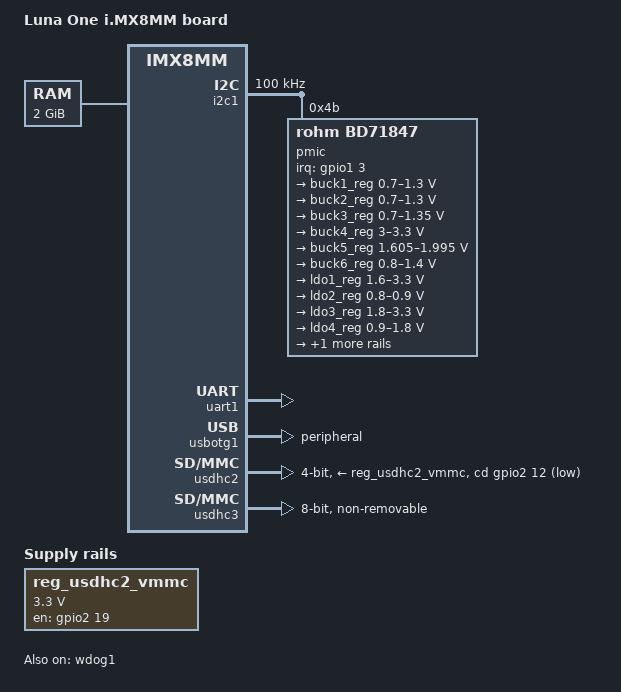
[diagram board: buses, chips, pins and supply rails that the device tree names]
// SPDX-License-Identifier: (GPL-2.0+ OR MIT)
/*
 * Copyright 2019-2020 NXP
 */

/dts-v1/;

#include "imx8mm.dtsi"

/ {
	model = "Luna One i.MX8MM board";
	compatible = "luna,imx8mm-luna-one", "fsl,imx8mm";

	chosen {
		stdout-path = &uart1;
	};

	memory@40000000 {
		device_type = "memory";
		reg = <0x0 0x40000000 0 0x80000000>;
	};

	aliases {
		mmc0 = &usdhc3;
		mmc1 = &usdhc2;
	};

	reg_usdhc2_vmmc: regulator-usdhc2 {
		compatible = "regulator-fixed";
		pinctrl-names = "default";
		pinctrl-0 = <&pinctrl_reg_usdhc2_vmmc>;
		regulator-name = "VSD_3V3";
		regulator-min-microvolt = <3300000>;
		regulator-max-microvolt = <3300000>;
		gpio = <&gpio2 19 GPIO_ACTIVE_HIGH>;
		enable-active-high;
	};

};

&A53_0 {
	cpu-supply = <&buck2_reg>;
};

&A53_1 {
	cpu-supply = <&buck2_reg>;
};

&A53_2 {
	cpu-supply = <&buck2_reg>;
};

&A53_3 {
	cpu-supply = <&buck2_reg>;
};

&i2c1 {
	clock-frequency = <100000>;
	pinctrl-names = "default";
	pinctrl-0 = <&pinctrl_i2c1>;
	status = "okay";

	pmic@4b {
		compatible = "rohm,bd71847";
		reg = <0x4b>;
		pinctrl-names = "default";
		pinctrl-0 = <&pinctrl_pmic>;
		interrupt-parent = <&gpio1>;
		interrupts = <3 IRQ_TYPE_LEVEL_LOW>;
		rohm,reset-snvs-powered;

		#clock-cells = <0>;
		clocks = <&osc_32k 0>;
		clock-output-names = "clk-32k-out";

		regulators {
			buck1_reg: BUCK1 {
				regulator-name = "buck1";
				regulator-min-microvolt = <700000>;
				regulator-max-microvolt = <1300000>;
				regulator-boot-on;
				regulator-always-on;
				regulator-ramp-delay = <1250>;
			};

			buck2_reg: BUCK2 {
				regulator-name = "buck2";
				regulator-min-microvolt = <700000>;
				regulator-max-microvolt = <1300000>;
				regulator-boot-on;
				regulator-always-on;
				regulator-ramp-delay = <1250>;
				rohm,dvs-run-voltage = <1000000>;
				rohm,dvs-idle-voltage = <900000>;
			};

			buck3_reg: BUCK3 {
				// BUCK5 in datasheet
				regulator-name = "buck3";
				regulator-min-microvolt = <700000>;
				regulator-max-microvolt = <1350000>;
				regulator-boot-on;
				regulator-always-on;
			};

			buck4_reg: BUCK4 {
				// BUCK6 in datasheet
				regulator-name = "buck4";
				regulator-min-microvolt = <3000000>;
				regulator-max-microvolt = <3300000>;
				regulator-boot-on;
				regulator-always-on;
			};

			buck5_reg: BUCK5 {
				// BUCK7 in datasheet
				regulator-name = "buck5";
				regulator-min-microvolt = <1605000>;
				regulator-max-microvolt = <1995000>;
				regulator-boot-on;
				regulator-always-on;
			};

			buck6_reg: BUCK6 {
				// BUCK8 in datasheet
				regulator-name = "buck6";
				regulator-min-microvolt = <800000>;
				regulator-max-microvolt = <1400000>;
				regulator-boot-on;
				regulator-always-on;
			};

			ldo1_reg: LDO1 {
				regulator-name = "ldo1";
				regulator-min-microvolt = <1600000>;
				regulator-max-microvolt = <3300000>;
				regulator-boot-on;
				regulator-always-on;
			};

			ldo2_reg: LDO2 {
				regulator-name = "ldo2";
				regulator-min-microvolt = <800000>;
				regulator-max-microvolt = <900000>;
				regulator-boot-on;
				regulator-always-on;
			};

			ldo3_reg: LDO3 {
				regulator-name = "ldo3";
				regulator-min-microvolt = <1800000>;
				regulator-max-microvolt = <3300000>;
				regulator-boot-on;
				regulator-always-on;
			};

			ldo4_reg: LDO4 {
				regulator-name = "ldo4";
				regulator-min-microvolt = <900000>;
				regulator-max-microvolt = <1800000>;
				regulator-boot-on;
				regulator-always-on;
			};

			ldo6_reg: LDO6 {
				regulator-name = "ldo6";
				regulator-min-microvolt = <900000>;
				regulator-max-microvolt = <1800000>;
				regulator-boot-on;
				regulator-always-on;
			};
		};
	};
};

&uart1 { /* console */
	pinctrl-names = "default";
	pinctrl-0 = <&pinctrl_uart1>;
	status = "okay";
};

&usbotg1 {
	dr_mode = "peripheral";
	status = "okay";
};

&usdhc2 {
	assigned-clocks = <&clk IMX8MM_CLK_USDHC2>;
	assigned-clock-rates = <200000000>;
	pinctrl-names = "default", "state_100mhz", "state_200mhz";
	pinctrl-0 = <&pinctrl_usdhc2>, <&pinctrl_usdhc2_gpio>;
	pinctrl-1 = <&pinctrl_usdhc2_100mhz>, <&pinctrl_usdhc2_gpio>;
	pinctrl-2 = <&pinctrl_usdhc2_200mhz>, <&pinctrl_usdhc2_gpio>;
	cd-gpios = <&gpio2 12 GPIO_ACTIVE_LOW>;
	bus-width = <4>;
	vmmc-supply = <&reg_usdhc2_vmmc>;
	status = "okay";
};

&usdhc3 {
	assigned-clocks = <&clk IMX8MM_CLK_USDHC3_ROOT>;
	assigned-clock-rates = <400000000>;
	pinctrl-names = "default", "state_100mhz", "state_200mhz";
	pinctrl-0 = <&pinctrl_usdhc3>;
	pinctrl-1 = <&pinctrl_usdhc3_100mhz>;
	pinctrl-2 = <&pinctrl_usdhc3_200mhz>;
	bus-width = <8>;
	non-removable;
	status = "okay";
};

&wdog1 {
	pinctrl-names = "default";
	pinctrl-0 = <&pinctrl_wdog>;
	fsl,ext-reset-output;
	status = "okay";
};

&iomuxc {
	pinctrl_i2c1: i2c1grp {
		fsl,pins = <
			MX8MM_IOMUXC_I2C1_SCL_I2C1_SCL			0x400001c3
			MX8MM_IOMUXC_I2C1_SDA_I2C1_SDA			0x400001c3
		>;
	};

	pinctrl_i2c2: i2c2grp {
		fsl,pins = <
			MX8MM_IOMUXC_I2C2_SCL_I2C2_SCL			0x400001c3
			MX8MM_IOMUXC_I2C2_SDA_I2C2_SDA			0x400001c3
		>;
	};

	pinctrl_i2c3: i2c3grp {
		fsl,pins = <
			MX8MM_IOMUXC_I2C3_SCL_I2C3_SCL			0x400001c3
			MX8MM_IOMUXC_I2C3_SDA_I2C3_SDA			0x400001c3
		>;
	};

	pinctrl_pmic: pmicirqgrp {
		fsl,pins = <
			MX8MM_IOMUXC_GPIO1_IO03_GPIO1_IO3		0x141
		>;
	};

	pinctrl_reg_usdhc2_vmmc: regusdhc2vmmcgrp {
		fsl,pins = <
			MX8MM_IOMUXC_SD2_RESET_B_GPIO2_IO19	0x41
		>;
	};

	pinctrl_uart1: uart1grp {
		fsl,pins = <
			MX8MM_IOMUXC_SAI2_RXFS_UART1_DCE_TX	0x140
			MX8MM_IOMUXC_SAI2_RXC_UART1_DCE_RX	0x140
		>;
	};

	pinctrl_usdhc2_gpio: usdhc2grpgpiogrp {
		fsl,pins = <
			MX8MM_IOMUXC_SD2_CD_B_GPIO2_IO12	0x1c4
		>;
	};

	pinctrl_usdhc2: usdhc2grp {
		fsl,pins = <
			MX8MM_IOMUXC_SD2_CLK_USDHC2_CLK		0x190
			MX8MM_IOMUXC_SD2_CMD_USDHC2_CMD		0x1d0
			MX8MM_IOMUXC_SD2_DATA0_USDHC2_DATA0	0x1d0
			MX8MM_IOMUXC_SD2_DATA1_USDHC2_DATA1	0x1d0
			MX8MM_IOMUXC_SD2_DATA2_USDHC2_DATA2	0x1d0
			MX8MM_IOMUXC_SD2_DATA3_USDHC2_DATA3	0x1d0
			MX8MM_IOMUXC_GPIO1_IO04_USDHC2_VSELECT	0x1d0
		>;
	};

	pinctrl_usdhc2_100mhz: usdhc2-100mhzgrp {
		fsl,pins = <
			MX8MM_IOMUXC_SD2_CLK_USDHC2_CLK		0x194
			MX8MM_IOMUXC_SD2_CMD_USDHC2_CMD		0x1d4
			MX8MM_IOMUXC_SD2_DATA0_USDHC2_DATA0	0x1d4
			MX8MM_IOMUXC_SD2_DATA1_USDHC2_DATA1	0x1d4
			MX8MM_IOMUXC_SD2_DATA2_USDHC2_DATA2	0x1d4
			MX8MM_IOMUXC_SD2_DATA3_USDHC2_DATA3	0x1d4
			MX8MM_IOMUXC_GPIO1_IO04_USDHC2_VSELECT	0x1d0
		>;
	};

	pinctrl_usdhc2_200mhz: usdhc2-200mhzgrp {
		fsl,pins = <
			MX8MM_IOMUXC_SD2_CLK_USDHC2_CLK		0x196
			MX8MM_IOMUXC_SD2_CMD_USDHC2_CMD		0x1d6
			MX8MM_IOMUXC_SD2_DATA0_USDHC2_DATA0	0x1d6
			MX8MM_IOMUXC_SD2_DATA1_USDHC2_DATA1	0x1d6
			MX8MM_IOMUXC_SD2_DATA2_USDHC2_DATA2	0x1d6
			MX8MM_IOMUXC_SD2_DATA3_USDHC2_DATA3	0x1d6
			MX8MM_IOMUXC_GPIO1_IO04_USDHC2_VSELECT	0x1d0
		>;
	};

	pinctrl_wdog: wdoggrp {
		fsl,pins = <
			MX8MM_IOMUXC_GPIO1_IO02_WDOG1_WDOG_B	0x166
		>;
	};

	pinctrl_backlight: backlightgrp {
		fsl,pins = <
			MX8MM_IOMUXC_GPIO1_IO01_PWM1_OUT	0x06
		>;
	};
	pinctrl_usdhc3: usdhc3grp {
		fsl,pins = <
			MX8MM_IOMUXC_NAND_WE_B_USDHC3_CLK               0x190
			MX8MM_IOMUXC_NAND_WP_B_USDHC3_CMD               0x1d0
			MX8MM_IOMUXC_NAND_DATA04_USDHC3_DATA0           0x1d0
			MX8MM_IOMUXC_NAND_DATA05_USDHC3_DATA1           0x1d0
			MX8MM_IOMUXC_NAND_DATA06_USDHC3_DATA2           0x1d0
			MX8MM_IOMUXC_NAND_DATA06_USDHC3_DATA2           0x1d0
			MX8MM_IOMUXC_NAND_DATA07_USDHC3_DATA3           0x1d0
			MX8MM_IOMUXC_NAND_RE_B_USDHC3_DATA4             0x1d0
			MX8MM_IOMUXC_NAND_CE2_B_USDHC3_DATA5            0x1d0
			MX8MM_IOMUXC_NAND_CE3_B_USDHC3_DATA6            0x1d0
			MX8MM_IOMUXC_NAND_CLE_USDHC3_DATA7              0x1d0
			MX8MM_IOMUXC_NAND_CE1_B_USDHC3_STROBE           0x190
		>;
	};

	pinctrl_usdhc3_100mhz: usdhc3-100mhzgrp {
		fsl,pins = <
			MX8MM_IOMUXC_NAND_WE_B_USDHC3_CLK               0x194
			MX8MM_IOMUXC_NAND_WP_B_USDHC3_CMD               0x1d4
			MX8MM_IOMUXC_NAND_DATA04_USDHC3_DATA0           0x1d4
			MX8MM_IOMUXC_NAND_DATA05_USDHC3_DATA1           0x1d4
			MX8MM_IOMUXC_NAND_DATA06_USDHC3_DATA2           0x1d4
			MX8MM_IOMUXC_NAND_DATA07_USDHC3_DATA3           0x1d4
			MX8MM_IOMUXC_NAND_RE_B_USDHC3_DATA4             0x1d4
			MX8MM_IOMUXC_NAND_CE2_B_USDHC3_DATA5            0x1d4
			MX8MM_IOMUXC_NAND_CE3_B_USDHC3_DATA6            0x1d4
			MX8MM_IOMUXC_NAND_CLE_USDHC3_DATA7              0x1d4
			MX8MM_IOMUXC_NAND_CE1_B_USDHC3_STROBE           0x194
		>;
	};

	pinctrl_usdhc3_200mhz: usdhc3-200mhzgrp {
		fsl,pins = <
			MX8MM_IOMUXC_NAND_WE_B_USDHC3_CLK               0x196
			MX8MM_IOMUXC_NAND_WP_B_USDHC3_CMD               0x1d6
			MX8MM_IOMUXC_NAND_DATA04_USDHC3_DATA0           0x1d6
			MX8MM_IOMUXC_NAND_DATA05_USDHC3_DATA1           0x1d6
			MX8MM_IOMUXC_NAND_DATA06_USDHC3_DATA2           0x1d6
			MX8MM_IOMUXC_NAND_DATA07_USDHC3_DATA3           0x1d6
			MX8MM_IOMUXC_NAND_RE_B_USDHC3_DATA4             0x1d6
			MX8MM_IOMUXC_NAND_CE2_B_USDHC3_DATA5            0x1d6
			MX8MM_IOMUXC_NAND_CE3_B_USDHC3_DATA6            0x1d6
			MX8MM_IOMUXC_NAND_CLE_USDHC3_DATA7              0x1d6
			MX8MM_IOMUXC_NAND_CE1_B_USDHC3_STROBE           0x196
		>;
	};
};
